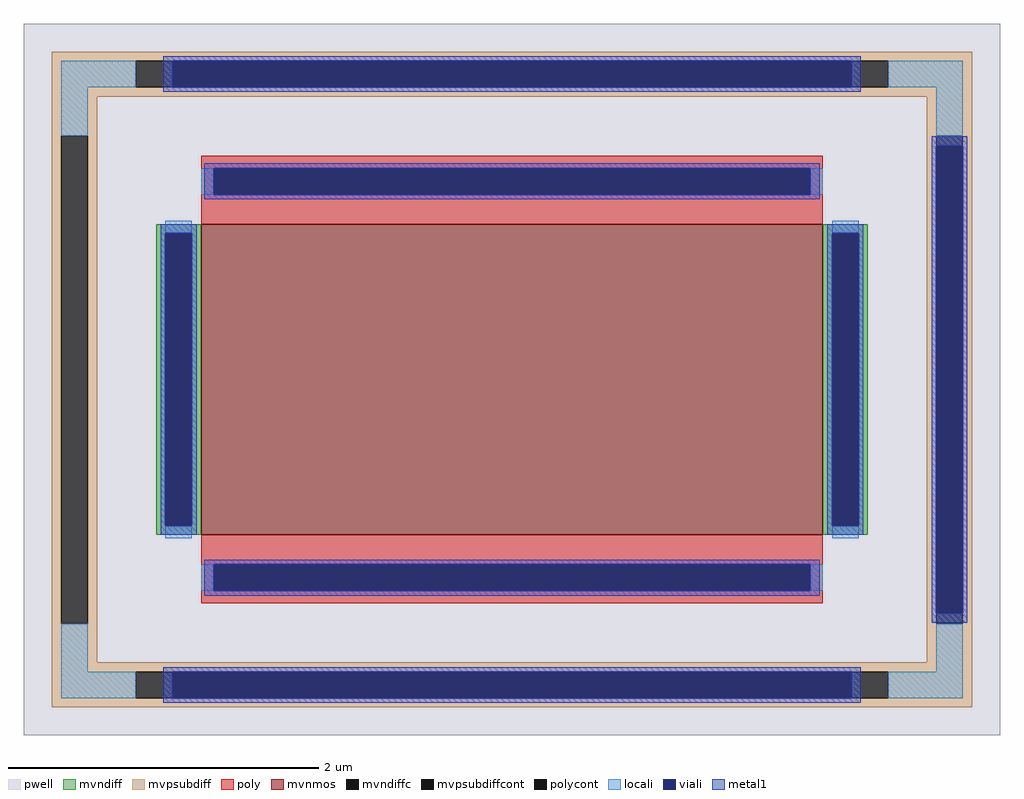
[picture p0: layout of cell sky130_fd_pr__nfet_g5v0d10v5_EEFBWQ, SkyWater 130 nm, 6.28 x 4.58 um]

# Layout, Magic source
magic
tech sky130A
magscale 1 2
<< pwell >>
rect -628 -458 628 458
<< mvnmos >>
rect -400 -200 400 200
<< mvndiff >>
rect -458 188 -400 200
rect -458 -188 -446 188
rect -412 -188 -400 188
rect -458 -200 -400 -188
rect 400 188 458 200
rect 400 -188 412 188
rect 446 -188 458 188
rect 400 -200 458 -188
<< mvndiffc >>
rect -446 -188 -412 188
rect 412 -188 446 188
<< mvpsubdiff >>
rect -592 410 592 422
rect -592 376 -484 410
rect 484 376 592 410
rect -592 364 592 376
rect -592 314 -534 364
rect -592 -314 -580 314
rect -546 -314 -534 314
rect 534 314 592 364
rect -592 -364 -534 -314
rect 534 -314 546 314
rect 580 -314 592 314
rect 534 -364 592 -314
rect -592 -376 592 -364
rect -592 -410 -484 -376
rect 484 -410 592 -376
rect -592 -422 592 -410
<< mvpsubdiffcont >>
rect -484 376 484 410
rect -580 -314 -546 314
rect 546 -314 580 314
rect -484 -410 484 -376
<< poly >>
rect -400 272 400 288
rect -400 238 -384 272
rect 384 238 400 272
rect -400 200 400 238
rect -400 -238 400 -200
rect -400 -272 -384 -238
rect 384 -272 400 -238
rect -400 -288 400 -272
<< polycont >>
rect -384 238 384 272
rect -384 -272 384 -238
<< locali >>
rect -580 376 -484 410
rect 484 376 580 410
rect -580 314 -546 376
rect 546 314 580 376
rect -400 238 -384 272
rect 384 238 400 272
rect -446 188 -412 204
rect -446 -204 -412 -188
rect 412 188 446 204
rect 412 -204 446 -188
rect -400 -272 -384 -238
rect 384 -272 400 -238
rect -580 -376 -546 -314
rect 546 -376 580 -314
rect -580 -410 -484 -376
rect 484 -410 580 -376
<< viali >>
rect -437 376 437 410
rect -384 238 384 272
rect -446 -188 -412 188
rect 412 -188 446 188
rect -384 -272 384 -238
rect 546 -301 580 301
rect -437 -410 437 -376
<< metal1 >>
rect -449 410 449 416
rect -449 376 -437 410
rect 437 376 449 410
rect -449 370 449 376
rect 540 301 586 313
rect -396 272 396 278
rect -396 238 -384 272
rect 384 238 396 272
rect -396 232 396 238
rect -452 188 -406 200
rect -452 -188 -446 188
rect -412 -188 -406 188
rect -452 -200 -406 -188
rect 406 188 452 200
rect 406 -188 412 188
rect 446 -188 452 188
rect 406 -200 452 -188
rect -396 -238 396 -232
rect -396 -272 -384 -238
rect 384 -272 396 -238
rect -396 -278 396 -272
rect 540 -301 546 301
rect 580 -301 586 301
rect 540 -313 586 -301
rect -449 -376 449 -370
rect -449 -410 -437 -376
rect 437 -410 449 -376
rect -449 -416 449 -410
<< properties >>
string FIXED_BBOX -563 -393 563 393
string gencell sky130_fd_pr__nfet_g5v0d10v5
string library sky130
string parameters w 2 l 4 m 1 nf 1 diffcov 100 polycov 100 guard 1 glc 1 grc 1 gtc 1 gbc 1 tbcov 100 rlcov 100 topc 1 botc 1 poverlap 0 doverlap 1 lmin 0.50 wmin 0.42 compatible {sky130_fd_pr__nfet_01v8 sky130_fd_pr__nfet_01v8_lvt  sky130_fd_bs_flash__special_sonosfet_star  sky130_fd_pr__nfet_g5v0d10v5 sky130_fd_pr__nfet_05v0_nvt  sky130_fd_pr__nfet_03v3_nvt} full_metal 1 viasrc 100 viadrn 100 viagate 100 viagb 80 viagr 80 viagl 0 viagt 80
<< end >>
